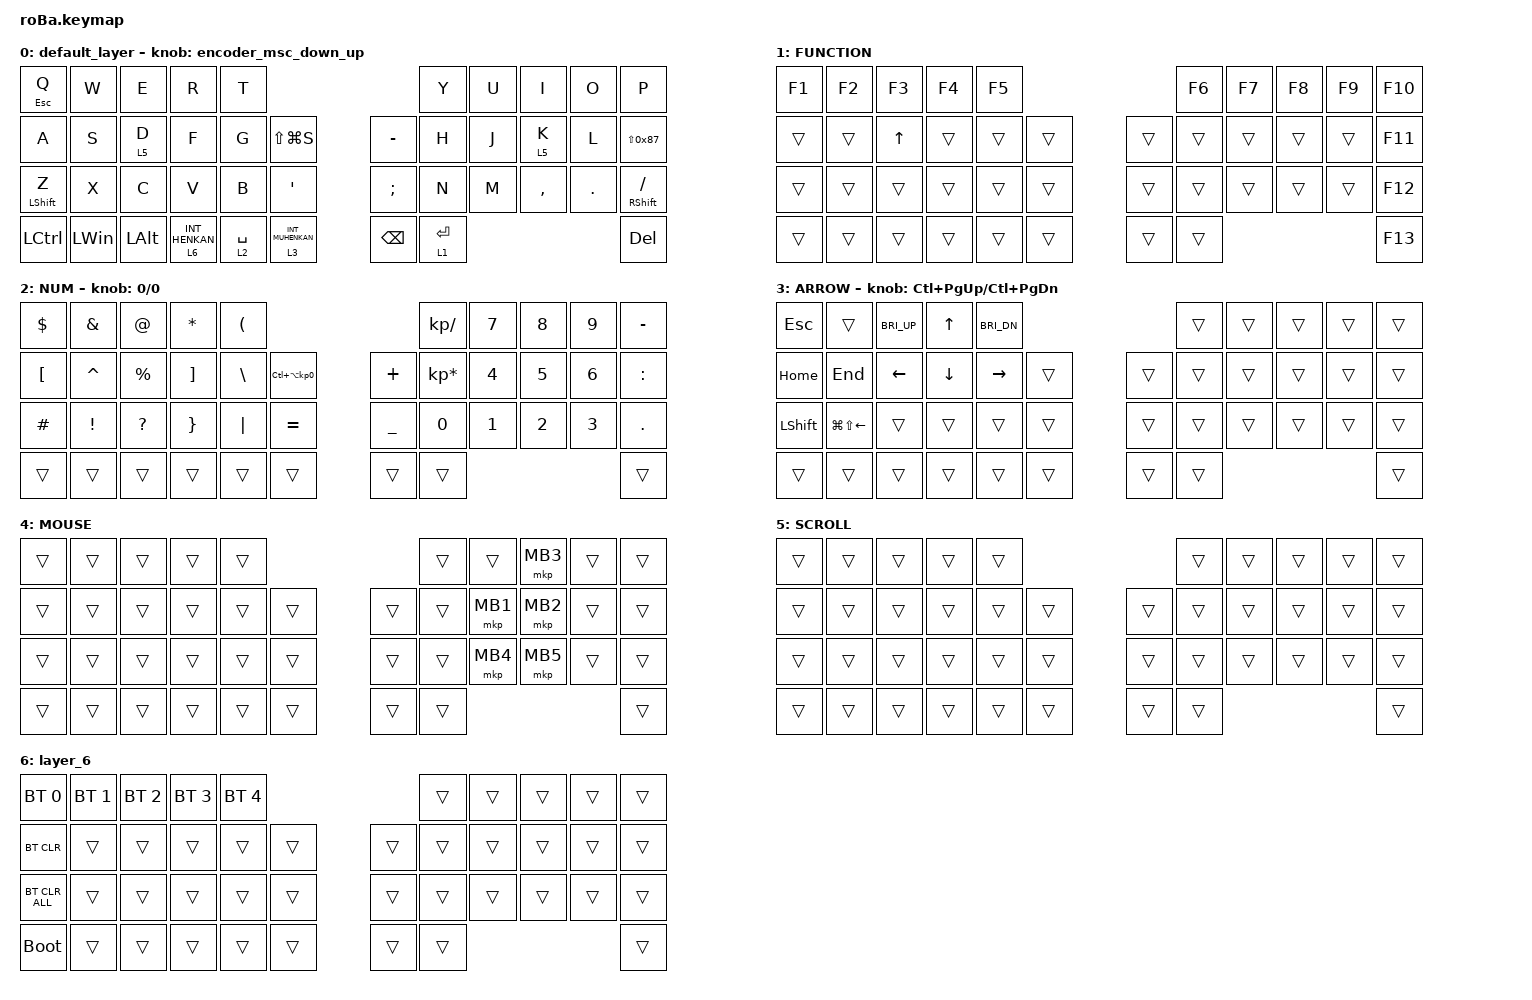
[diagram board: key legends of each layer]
#include <behaviors.dtsi>
#include <dt-bindings/zmk/bt.h>
#include <dt-bindings/zmk/keys.h>
#include <dt-bindings/zmk/pointing.h>
#include <input/processors.dtsi>

#define ZMK_POINTING_DEFAULT_SCRL_VAL 80
#define JP_DQUOTE       AT                // "
#define JP_AMPERSAND    CARET             // &
#define JP_QUOTE        AMPERSAND         // '
#define JP_EQUAL        UNDER             // =
#define JP_CARET        EQUAL             // ^
#define JP_YEN          0x89              // ¥
#define JP_PLUS         COLON             // +
#define JP_TILDE        PLUS              // ~
#define JP_PIPE         LS(0x89)          // |
#define JP_AT           LEFT_BRACKET      // @
#define JP_COLON        SINGLE_QUOTE      // :
#define JP_ASTERISK     DOUBLE_QUOTES     // *
#define JP_BACKQUOTE    LEFT_BRACE        // `
#define JP_UNDERSCORE   LS(0x87)          // _
#define JP_LBRACKET     RIGHT_BRACKET     // [
#define JP_RBRACKET     BACKSLASH         // ]
#define JP_LPAREN       ASTERISK          // (
#define JP_RPAREN       LEFT_PARENTHESIS  // )
#define JP_LBRACE       RIGHT_BRACE       // {
#define JP_RBRACE       PIPE              // }
#define JP_KANA         LANGUAGE_1        // かな
#define JP_EISU         LANGUAGE_2        // 英数
#define JP_HANZEN       GRAVE             // 半角/全角

//&mkp_input_listener {
//    input-processors = <&zip_temp_layer 4 10000>;     //クリックしたときに10s間AMLを延長する。
//};

&mt {
    flavor = "balanced";
    quick-tap-ms = <0>;
};

&trackball {
    //automouse-layer = <4>;    ////input processerを使用する場合無効化しておく。
    scroll-layers = <5>;

    // arrows {
    //     layers = <3>;
    //     bindings =
    //         <&kp RIGHT_ARROW>,
    //         <&kp LEFT_ARROW>,
    //         <&kp UP_ARROW>,
    //         <&kp DOWN_ARROW>;
    //     tick = <10>;
    //     wait-ms = <5>;
    //     tap-ms = <5>;
    // };
};

/ {
    combos {
        compatible = "zmk,combos";

        tab {
            bindings = <&kp TAB>;
            key-positions = <11 12>;
        };

        shift_tab {
            bindings = <&kp LS(TAB)>;
            key-positions = <12 13>;
        };

        muhennkann {
            bindings = <&to_layer_0 INT_MUHENKAN>;
            key-positions = <11 10>;
        };

        double_quotation {
            bindings = <&kp DOUBLE_QUOTES>;
            key-positions = <20 21>;
        };

        eq {
            bindings = <&kp EQUAL>;
            key-positions = <24 25>;
        };

        scroll {
            timeout-ms = <50>;
            bindings = <&mo 5>;
            key-positions = <19 20>;
        };
    };

    macros {
        to_layer_0: to_layer_0 {
            compatible = "zmk,behavior-macro-one-param";
            #binding-cells = <1>;
            bindings = <&to 0 &macro_param_1to1 &kp MACRO_PLACEHOLDER>;
            label = "TO_LAYER_0";
        };
    };

    behaviors {
        encoder_msc_down_up: encoder_msc_down_up {
            compatible = "zmk,behavior-sensor-rotate";
            label = "ENCODER_MSC_DOWN_UP";
            #sensor-binding-cells = <0>;
            bindings = <&msc SCRL_DOWN>, <&msc SCRL_UP>;

            tap-ms = <20>;
        };

        lt_to_layer_0: lt_to_layer_0 {
            compatible = "zmk,behavior-hold-tap";
            label = "LAYER_TAP_TO_0";
            bindings = <&mo>, <&to_layer_0>;

            #binding-cells = <2>;
            tapping-term-ms = <200>;
        };
    };

    keymap {
        compatible = "zmk,keymap";

        default_layer {
            bindings = <
&mt ESCAPE Q      &kp W         &kp E         &kp R                        &kp T                                                          &kp Y        &kp U  &kp I      &kp O    &kp P
&kp A             &kp S         &lt 5 D       &kp F                        &kp G        &kp LS(LG(S))                      &kp MINUS      &kp H        &kp J  &lt 5 K    &kp L    &kp JP_UNDERSCORE
&mt LEFT_SHIFT Z  &kp X         &kp C         &kp V                        &kp B        &kp JP_COLON                       &kp SEMICOLON  &kp N        &kp M  &kp COMMA  &kp DOT  &mt RSHFT SLASH
&kp LCTRL         &kp LEFT_WIN  &kp LEFT_ALT  &lt_to_layer_0 6 INT_HENKAN  &lt 2 SPACE  &lt_to_layer_0 3 INT_MUHENKAN      &kp BACKSPACE  &lt 1 ENTER                             &kp DEL
            >;

            //sensor-bindings = <&inc_dec_kp PG_UP PAGE_DOWN>;

            sensor-bindings = <&encoder_msc_down_up>;
        };

        FUNCTION {
            bindings = <
&kp F1  &kp F2          &kp F3          &kp F4        &kp F5                        &kp F6  &kp F7  &kp F8  &kp F9  &kp F10
&trans  &trans          &kp UP          &trans        &trans    &trans      &trans  &trans  &trans  &trans  &trans  &kp F11
&trans  &trans          &trans          &trans        &trans    &trans      &trans  &trans  &trans  &trans  &trans  &kp F12
&trans  &trans          &trans          &trans        &trans    &trans      &trans  &trans                          &kp F13
            >;
        };

        NUM {
            bindings = <
&kp DLLR          &kp AMPERSAND    &kp JP_DQUOTE  &kp JP_LPAREN    &kp JP_RPAREN                                                 &kp KP_DIVIDE   &kp NUMBER_7  &kp NUMBER_8  &kp NUMBER_9  &kp MINUS
&kp JP_AT         &kp CARET        &kp PERCENT    &kp JP_LBRACKET  &kp JP_RBRACKET  &kp LC(LA(KP_NUMBER_0))      &kp JP_TILDE    &kp KP_MULTIPLY &kp NUMBER_4  &kp NUMBER_5  &kp NUMBER_6  &kp COLON
&kp HASH          &kp EXCLAMATION  &kp QUESTION   &kp JP_LBRACE    &kp JP_RBRACE    &kp EQUAL                    &kp JP_EQUAL    &kp NUMBER_0    &kp NUMBER_1  &kp NUMBER_2  &kp NUMBER_3  &kp DOT         
&trans            &trans           &trans         &trans           &trans           &trans                       &trans          &trans                                                    &trans
            >;

            sensor-bindings = <&inc_dec_kp 0 0>;
        };

        ARROW {
            bindings = <
&kp ESCAPE      &trans                  &kp C_BRI_UP    &kp UP           &kp C_BRI_DN                            &trans  &trans  &trans  &trans  &trans
&kp HOME        &kp END                 &kp LEFT_ARROW  &kp DOWN_ARROW   &kp RIGHT_ARROW     &trans      &trans  &trans  &trans  &trans  &trans  &trans
&kp LEFT_SHIFT  &kp LG(LS(LEFT_ARROW))  &trans          &trans           &trans              &trans      &trans  &trans  &trans  &trans  &trans  &trans
&trans          &trans                  &trans          &trans           &trans              &trans      &trans  &trans                          &trans
            >; 

            sensor-bindings = <&inc_dec_kp LC(PAGE_UP) LC(PAGE_DOWN)>;
        };

        MOUSE {
            bindings = <
&trans     &trans     &trans     &trans     &trans                      &trans  &trans    &mkp MB3  &trans  &trans
&trans     &trans     &trans     &trans     &trans  &trans      &trans  &trans  &mkp MB1  &mkp MB2  &trans  &trans
&trans     &trans     &trans     &trans     &trans  &trans      &trans  &trans  &mkp MB4  &mkp MB5  &trans  &trans
&trans     &trans     &trans     &trans     &trans  &trans      &trans  &trans                              &trans
            >;
        };

        SCROLL {
            bindings = <
&trans  &trans  &trans  &trans  &trans                      &trans  &trans  &trans  &trans  &trans
&trans  &trans  &trans  &trans  &trans  &trans      &trans  &trans  &trans  &trans  &trans  &trans
&trans  &trans  &trans  &trans  &trans  &trans      &trans  &trans  &trans  &trans  &trans  &trans
&trans  &trans  &trans  &trans  &trans  &trans      &trans  &trans                          &trans
            >;
        };

        layer_6 {
            bindings = <
&bt BT_SEL 0    &bt BT_SEL 1  &bt BT_SEL 2  &bt BT_SEL 3  &bt BT_SEL 4                           &trans        &trans        &trans        &trans        &trans
&bt BT_CLR      &trans        &trans        &trans        &trans        &trans      &trans       &trans        &trans        &trans        &trans        &trans
&bt BT_CLR_ALL  &trans        &trans        &trans        &trans        &trans      &trans       &trans        &trans        &trans        &trans        &trans
&bootloader     &trans        &trans        &trans        &trans        &trans      &trans       &trans                                                  &trans
            >;
        };
    };
};
